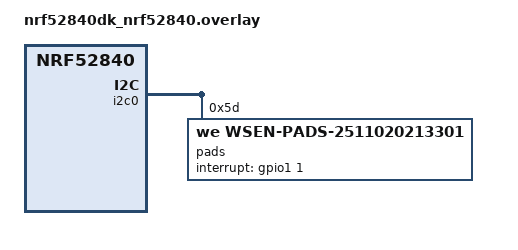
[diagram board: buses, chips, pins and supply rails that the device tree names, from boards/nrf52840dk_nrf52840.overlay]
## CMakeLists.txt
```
# SPDX-License-Identifier: Apache-2.0

cmake_minimum_required(VERSION 3.20.0)
find_package(Zephyr REQUIRED HINTS $ENV{ZEPHYR_BASE})
project(wsen_pads_2511020213301)

target_sources(app PRIVATE src/main.c)
```

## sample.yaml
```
sample:
  name: WSEN-PADS-2511020213301 Sensor Sample
tests:
  sample.sensor.wsen-PADS-2511020213301:
    harness: sensor
    tags: sensors
    depends_on: i2c gpio
    filter: dt_compat_enabled("we,wsen-pads-2511020213301")
```

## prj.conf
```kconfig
CONFIG_PRINTK=y
CONFIG_GPIO=y
CONFIG_I2C=y
# CONFIG_SPI=y
CONFIG_SENSOR=y
CONFIG_CBPRINTF_FP_SUPPORT=y

CONFIG_LOG=y
CONFIG_LOG_MODE_MINIMAL=y
CONFIG_ASSERT=y

# CONFIG_WSEN_PADS_2511020213301_TRIGGER_OWN_THREAD=y
# CONFIG_WSEN_PADS_2511020213301_PRESSURE_THRESHOLD=y
```

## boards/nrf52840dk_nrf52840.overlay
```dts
&i2c0 {
	pads:pads-2511020213301@5d {
		compatible = "we,wsen-pads-2511020213301";
		reg = <0x5d>;
		odr = < 10 >;
		interrupt-gpios = <&gpio1 1 GPIO_ACTIVE_HIGH>;
	};
};
```

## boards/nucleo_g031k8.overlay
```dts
&i2c1 {
	pads:pads-2511020213301@5d {
		compatible = "we,wsen-pads-2511020213301";
		reg = <0x5d>;
		odr = < 10 >;
		interrupt-gpios = <&gpiob 3 GPIO_ACTIVE_HIGH>;
	};
};
```

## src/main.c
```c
/*
 * Copyright (c) 2023 Würth Elektronik eiSos GmbH & Co. KG
 *
 * SPDX-License-Identifier: Apache-2.0
 */

#include <zephyr/kernel.h>

#include <zephyr/sys/printk.h>
#include <zephyr/sys_clock.h>
#include <stdio.h>

#include <zephyr/device.h>
#include <zephyr/drivers/sensor.h>
#include <zephyr/drivers/sensor/wsen_pads_2511020213301.h>
#include <zephyr/drivers/i2c.h>
#include <zephyr/logging/log.h>

LOG_MODULE_REGISTER(MAIN);

#define MAX_TEST_TIME 50000
#define SLEEPTIME     500

static void process_sample(const struct device *pads_2511020213301)
{
	struct sensor_value temp_value;
	struct sensor_value press_value;

	if (sensor_sample_fetch(pads_2511020213301) < 0) {
		LOG_INF("sample update error.\n");
		return;
	}

	if (sensor_channel_get(pads_2511020213301, SENSOR_CHAN_AMBIENT_TEMP, &temp_value) < 0) {
		LOG_ERR("Temperature channel read error.\n");
		return;
	}

	if (sensor_channel_get(pads_2511020213301, SENSOR_CHAN_PRESS, &press_value) < 0) {
		LOG_ERR("Pressure channel read error.\n");
		return;
	}

	LOG_INF("Temperature (Celsius): %f\n", sensor_value_to_double(&temp_value));

	LOG_INF("Pressure (kPa): %f\n", sensor_value_to_double(&press_value));
}
#ifdef CONFIG_WSEN_PADS_2511020213301_PRESSURE_THRESHOLD

static void
pads_2511020213301_pressure_high_interrupt_handler(const struct device *pads_2511020213301,
						   const struct sensor_trigger *trig)
{
	LOG_INF("Pressure above threshold.\n");
}

static void
pads_2511020213301_pressure_low_interrupt_handler(const struct device *pads_2511020213301,
						  const struct sensor_trigger *trig)
{
	LOG_INF("Pressure below threshold.\n");
}

void pressure_high_trigger(const struct device *pads_2511020213301)
{

	struct sensor_value threshold;

	sensor_value_from_double(&threshold, 1000.0);

	sensor_attr_set(pads_2511020213301, SENSOR_CHAN_PRESS,
			SENSOR_ATTR_WSEN_PADS_2511020213301_REFERENCE_POINT, NULL);

	sensor_attr_set(pads_2511020213301, SENSOR_CHAN_PRESS, SENSOR_ATTR_UPPER_THRESH,
			&threshold);

	struct sensor_trigger trig = {
		.type = SENSOR_TRIG_WSEN_PADS_2511020213301_THRESHOLD_UPPER,
		.chan = SENSOR_CHAN_PRESS,
	};

	if (sensor_trigger_set(pads_2511020213301, &trig,
			       pads_2511020213301_pressure_high_interrupt_handler) < 0) {
		LOG_ERR("Failed to configure trigger.");
	}
}

void pressure_low_trigger(const struct device *pads_2511020213301)
{

	struct sensor_value threshold;

	sensor_value_from_double(&threshold, 1000.0);

	sensor_attr_set(pads_2511020213301, SENSOR_CHAN_PRESS,
			SENSOR_ATTR_WSEN_PADS_2511020213301_REFERENCE_POINT, NULL);

	sensor_attr_set(pads_2511020213301, SENSOR_CHAN_PRESS, SENSOR_ATTR_LOWER_THRESH,
			&threshold);

	struct sensor_trigger trig = {
		.type = SENSOR_TRIG_WSEN_PADS_2511020213301_THRESHOLD_LOWER,
		.chan = SENSOR_CHAN_PRESS,
	};

	if (sensor_trigger_set(pads_2511020213301, &trig,
			       pads_2511020213301_pressure_low_interrupt_handler) < 0) {
		LOG_ERR("Failed to configure trigger.");
	}
}
#else
static void pads_2511020213301_data_ready_interrupt_handler(const struct device *pads_2511020213301,
							    const struct sensor_trigger *trig)
{
	process_sample(pads_2511020213301);
}

void data_ready_trigger(const struct device *pads_2511020213301)
{

	struct sensor_trigger trig = {
		.type = SENSOR_TRIG_DATA_READY,
		.chan = SENSOR_CHAN_PRESS,
	};

	if (sensor_trigger_set(pads_2511020213301, &trig,
			       pads_2511020213301_data_ready_interrupt_handler) < 0) {
		LOG_ERR("Failed to configure trigger.");
	}
}
#endif /* CONFIG_WSEN_PADS_2511020213301_PRESSURE_THRESHOLD */

int main(void)
{
	const struct device *const pads_2511020213301 = DEVICE_DT_GET(DT_NODELABEL(pads));

	if (!device_is_ready(pads_2511020213301)) {
		LOG_ERR("sensor: device not ready.\n");
		return 0;
	}

	k_sleep(K_MSEC(SLEEPTIME));

	if (IS_ENABLED(CONFIG_WSEN_PADS_2511020213301_TRIGGER)) {

#ifdef CONFIG_WSEN_PADS_2511020213301_PRESSURE_THRESHOLD
		pressure_high_trigger(pads_2511020213301);
		pressure_low_trigger(pads_2511020213301);
#else
		data_ready_trigger(pads_2511020213301);
#endif /* CONFIG_WSEN_PADS_2511020213301_PRESSURE_THRESHOLD */

	} else {
		/* polling mode */

		int32_t remaining_test_time = MAX_TEST_TIME;
		
		do {
			process_sample(pads_2511020213301);

			/* wait a while */
			k_sleep(K_MSEC(SLEEPTIME));

			remaining_test_time -= SLEEPTIME;
		} while (remaining_test_time > 0);
	}

	k_sleep(K_FOREVER);
	return 0;
}
```
